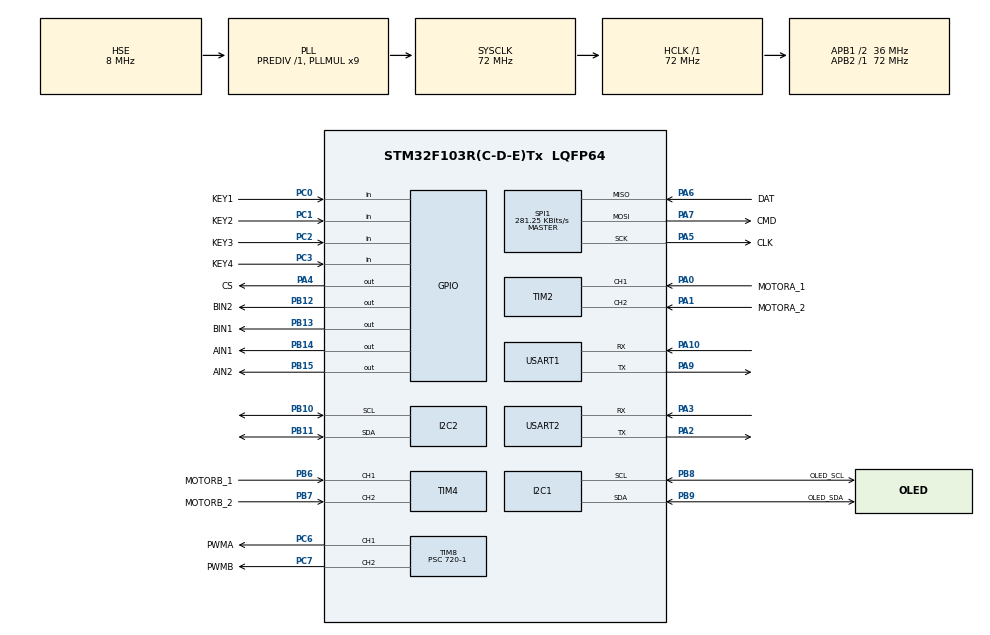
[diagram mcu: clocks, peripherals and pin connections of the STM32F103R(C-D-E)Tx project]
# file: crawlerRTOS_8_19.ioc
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FREERTOS.BinarySemaphores01=myBinarySem01,Dynamic,NULL;myBinarySem02,Dynamic,NULL
FREERTOS.Tasks01=defaultTask,0,128,StartDefaultTask,Default,NULL,Dynamic,NULL,NULL;OLED_Task,-2,128,StartOLED_Task,Default,NULL,Dynamic,NULL,NULL;KEY_Task,0,128,StartKEY_Task,Default,NULL,Dynamic,NULL,NULL;myTask_KEY,0,128,StartmyTask_KEY,Default,NULL,Dynamic,NULL,NULL;mode_Task,0,128,Startmode_Task,Default,NULL,Dynamic,NULL,NULL;U1_Task,0,128,StartU1_Task,Default,NULL,Dynamic,NULL,NULL;U2_Task,-3,128,StartU2_Task,Default,NULL,Dynamic,NULL,NULL
FREERTOS.Timers01=myTimer01,Callback01,osTimerPeriodic,Default,NULL,Dynamic,NULL;mode1Timer,mode1Callback,osTimerPeriodic,Default,NULL,Dynamic,NULL
FREERTOS.configTOTAL_HEAP_SIZE=6144
FREERTOS.configUSE_COUNTING_SEMAPHORES=1
FREERTOS.configUSE_TIMERS=1
Mcu.Family=STM32F1
Mcu.Name=STM32F103R(C-D-E)Tx
Mcu.Package=LQFP64
NVIC.PriorityGroup=NVIC_PRIORITYGROUP_4
NVIC.TIM2_IRQn=true\:5\:0\:false\:false\:true\:true\:true\:true\:true
NVIC.TIM3_IRQn=true\:5\:0\:false\:false\:true\:true\:true\:true\:true
NVIC.TIM4_IRQn=true\:5\:0\:false\:false\:true\:true\:true\:true\:true
NVIC.TIM6_IRQn=true\:5\:0\:false\:false\:true\:true\:true\:true\:true
NVIC.TIM7_IRQn=true\:15\:0\:false\:false\:true\:false\:false\:true\:true
NVIC.TIM8_TRG_COM_IRQn=true\:5\:0\:false\:false\:true\:true\:true\:true\:true
NVIC.TIM8_UP_IRQn=true\:5\:0\:false\:false\:true\:true\:true\:true\:true
NVIC.TimeBase=TIM7_IRQn
NVIC.TimeBaseIP=TIM7
NVIC.USART1_IRQn=true\:5\:0\:false\:false\:true\:true\:true\:true\:true
NVIC.USART2_IRQn=true\:5\:0\:false\:false\:true\:true\:true\:true\:true
PA0-WKUP.GPIO_Label=MOTORA_1
PA0-WKUP.GPIO_PuPd=GPIO_PULLUP
PA0-WKUP.Signal=S_TIM2_CH1_ETR
PA1.GPIO_Label=MOTORA_2
PA1.GPIO_PuPd=GPIO_PULLUP
PA1.Signal=S_TIM2_CH2
PA10.Mode=Asynchronous
PA10.Signal=USART1_RX
PA13.Mode=Serial_Wire
PA13.Signal=SYS_JTMS-SWDIO
PA14.Mode=Serial_Wire
PA14.Signal=SYS_JTCK-SWCLK
PA2.Mode=Asynchronous
PA2.Signal=USART2_TX
PA3.Mode=Asynchronous
PA3.Signal=USART2_RX
PA4.GPIO_Label=CS
PA4.Signal=GPIO_Output
PA5.GPIO_Label=CLK
PA5.Mode=Full_Duplex_Master
PA5.Signal=SPI1_SCK
PA6.GPIO_Label=DAT
PA6.Mode=Full_Duplex_Master
PA6.Signal=SPI1_MISO
PA7.GPIO_Label=CMD
PA7.Mode=Full_Duplex_Master
PA7.Signal=SPI1_MOSI
PA9.Mode=Asynchronous
PA9.Signal=USART1_TX
PB10.Mode=I2C
PB10.Signal=I2C2_SCL
PB11.Mode=I2C
PB11.Signal=I2C2_SDA
PB12.GPIO_Label=BIN2
PB12.Signal=GPIO_Output
PB13.GPIO_Label=BIN1
PB13.Signal=GPIO_Output
PB14.GPIO_Label=AIN1
PB14.Signal=GPIO_Output
PB15.GPIO_Label=AIN2
PB15.Signal=GPIO_Output
PB6.GPIO_Label=MOTORB_1
PB6.GPIO_PuPd=GPIO_PULLUP
PB6.Signal=S_TIM4_CH1
PB7.GPIO_Label=MOTORB_2
PB7.GPIO_PuPd=GPIO_PULLUP
PB7.Signal=S_TIM4_CH2
PB8.GPIO_Label=OLED_SCL
PB8.Mode=I2C
PB8.Signal=I2C1_SCL
PB9.GPIO_Label=OLED_SDA
PB9.Mode=I2C
PB9.Signal=I2C1_SDA
PC0.GPIO_Label=KEY1
PC0.GPIO_PuPd=GPIO_PULLUP
PC0.Signal=GPIO_Input
PC1.GPIO_Label=KEY2
PC1.GPIO_PuPd=GPIO_PULLUP
PC1.Signal=GPIO_Input
PC2.GPIO_Label=KEY3
PC2.GPIO_PuPd=GPIO_PULLUP
PC2.Signal=GPIO_Input
PC3.GPIO_Label=KEY4
PC3.GPIO_PuPd=GPIO_PULLUP
PC3.Signal=GPIO_Input
PC6.GPIO_Label=PWMA
PC6.Signal=S_TIM8_CH1
PC7.GPIO_Label=PWMB
PC7.Signal=S_TIM8_CH2
PD0-OSC_IN.Mode=HSE-External-Oscillator
PD0-OSC_IN.Signal=RCC_OSC_IN
PD1-OSC_OUT.Mode=HSE-External-Oscillator
PD1-OSC_OUT.Signal=RCC_OSC_OUT
ProjectManager.HeapSize=0x200
ProjectManager.StackSize=0x400
ProjectManager.TargetToolchain=MDK-ARM V5.32
RCC.AHBFreq_Value=72000000
RCC.APB1CLKDivider=RCC_HCLK_DIV2
RCC.APB1Freq_Value=36000000
RCC.APB1TimFreq_Value=72000000
RCC.APB2Freq_Value=72000000
RCC.APB2TimFreq_Value=72000000
RCC.HCLKFreq_Value=72000000
RCC.PLLMUL=RCC_PLL_MUL9
RCC.PLLSourceVirtual=RCC_PLLSOURCE_HSE
RCC.SYSCLKFreq_VALUE=72000000
RCC.SYSCLKSource=RCC_SYSCLKSOURCE_PLLCLK
RCC.USBFreq_Value=72000000
SH.S_TIM2_CH1_ETR.0=TIM2_CH1,Encoder_Interface
SH.S_TIM2_CH2.0=TIM2_CH2,Encoder_Interface
SH.S_TIM4_CH1.0=TIM4_CH1,Encoder_Interface
SH.S_TIM4_CH2.0=TIM4_CH2,Encoder_Interface
SH.S_TIM8_CH1.0=TIM8_CH1,PWM Generation1 CH1
SH.S_TIM8_CH2.0=TIM8_CH2,PWM Generation2 CH2
SPI1.BaudRatePrescaler=SPI_BAUDRATEPRESCALER_256
SPI1.CLKPolarity=SPI_POLARITY_HIGH
SPI1.CalculateBaudRate=281.25 KBits/s
SPI1.Direction=SPI_DIRECTION_2LINES
SPI1.FirstBit=SPI_FIRSTBIT_LSB
SPI1.Mode=SPI_MODE_MASTER
SPI1.VirtualType=VM_MASTER
TIM3.Period=50-1
TIM3.Prescaler=7200-1
TIM6.Period=50-1
TIM6.Prescaler=7200-1
TIM8.Channel-PWM\ Generation1\ CH1=TIM_CHANNEL_1
TIM8.Channel-PWM\ Generation2\ CH2=TIM_CHANNEL_2
TIM8.Period=1000-1
TIM8.Prescaler=720-1
USART1.VirtualMode=VM_ASYNC
USART2.VirtualMode=VM_ASYNC
VP_FREERTOS_VS_CMSIS_V1.Mode=CMSIS_V1
VP_SYS_VS_tim7.Mode=TIM7
VP_TIM3_VS_ClockSourceINT.Mode=Internal
VP_TIM6_VS_ClockSourceINT.Mode=Enable_Timer
VP_TIM8_VS_ClockSourceINT.Mode=Internal
board=custom

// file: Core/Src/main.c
/* USER CODE BEGIN Header */
/**
  ******************************************************************************
  * @file           : main.c
  * @brief          : Main program body
  ******************************************************************************
  * @attention
  *
  * Copyright (c) 2024 STMicroelectronics.
  * All rights reserved.
  *
  * This software is licensed under terms that can be found in the LICENSE file
  * in the root directory of this software component.
  * If no LICENSE file comes with this software, it is provided AS-IS.
  *
  ******************************************************************************
  */
/* USER CODE END Header */
#include "main.h"
#include "cmsis_os.h"
#include "i2c.h"
#include "spi.h"
#include "tim.h"
#include "usart.h"
#include "gpio.h"

/* USER CODE BEGIN PM */
int alg_Set[5] = {0,0,0,0,0};
int alg_Set_init[3] = {200,280,0};

int sign_Set[5] = {0,0,0,0,0};
/* USER CODE END PM */

/* USER CODE BEGIN PV */
/********************************************************************************/
uint8_t RxBuffer[MAX_REC_LENGTH] = {0};		//串口数据存储BUFF		长度2048
uint8_t RxFlag = 0;							//串口接收完成标志符
uint16_t RxCounter = 0;						//串口长度计数
uint8_t RxTemp[REC_LENGTH] = {0};			//串口数据接收暂存BUFF	长度1

uint8_t RxBuffer2[MAX_REC_LENGTH] = {0};		//串口数据存储BUFF		长度2048
uint8_t RxFlag2 = 0;							//串口接收完成标志符
uint16_t RxCounter2 = 0;						//串口长度计数
uint8_t RxTemp2[REC_LENGTH] = {0};			//串口数据接收暂存BUFF	长度1

extern osSemaphoreId myBinarySem01Handle;	//操作系统定义的互斥量
extern osSemaphoreId myBinarySem02Handle;	//操作系统定义的互斥量
/********************************************************************************/
/* USER CODE END PV */

void SystemClock_Config(void);
void MX_FREERTOS_Init(void);

int main(void)
{

  /* MCU Configuration--------------------------------------------------------*/

  /* Reset of all peripherals, Initializes the Flash interface and the Systick. */
  HAL_Init();

  /* Configure the system clock */
  SystemClock_Config();

  /* Initialize all configured peripherals */
  MX_GPIO_Init();
  MX_I2C1_Init();
  MX_SPI1_Init();
  MX_USART1_UART_Init();
  MX_I2C2_Init();
  MX_TIM8_Init();
  MX_TIM2_Init();
  MX_TIM4_Init();
  MX_TIM6_Init();
  MX_USART2_UART_Init();
  MX_TIM3_Init();
  /* USER CODE BEGIN 2 */
	HAL_TIM_Encoder_Start(&htim2, TIM_CHANNEL_ALL);
	HAL_TIM_Encoder_Start(&htim4, TIM_CHANNEL_ALL);

	OLED_Init();  //初始化OLED
	PID_Param_Init();
	PCA_MG9XX_Init(60,90);

	inverse_operation(alg_Set_init[0],alg_Set_init[1],alg_Set_init[2]);
	alg_move_run();
  /* USER CODE END 2 */

  /* Call init function for freertos objects (in freertos.c) */
  MX_FREERTOS_Init();

  /* Start scheduler */
  osKernelStart();

  /* We should never get here as control is now taken by the scheduler */
  /* Infinite loop */
  while (1)
  {

  }
}

void SystemClock_Config(void)
{
  RCC_OscInitTypeDef RCC_OscInitStruct = {0};
  RCC_ClkInitTypeDef RCC_ClkInitStruct = {0};

  /** Initializes the RCC Oscillators according to the specified parameters
  * in the RCC_OscInitTypeDef structure.
  */
  RCC_OscInitStruct.OscillatorType = RCC_OSCILLATORTYPE_HSE;
  RCC_OscInitStruct.HSEState = RCC_HSE_ON;
  RCC_OscInitStruct.HSEPredivValue = RCC_HSE_PREDIV_DIV1;
  RCC_OscInitStruct.HSIState = RCC_HSI_ON;
  RCC_OscInitStruct.PLL.PLLState = RCC_PLL_ON;
  RCC_OscInitStruct.PLL.PLLSource = RCC_PLLSOURCE_HSE;
  RCC_OscInitStruct.PLL.PLLMUL = RCC_PLL_MUL9;
  if (HAL_RCC_OscConfig(&RCC_OscInitStruct) != HAL_OK)
  {
    Error_Handler();
  }

  /** Initializes the CPU, AHB and APB buses clocks
  */
  RCC_ClkInitStruct.ClockType = RCC_CLOCKTYPE_HCLK|RCC_CLOCKTYPE_SYSCLK
                              |RCC_CLOCKTYPE_PCLK1|RCC_CLOCKTYPE_PCLK2;
  RCC_ClkInitStruct.SYSCLKSource = RCC_SYSCLKSOURCE_PLLCLK;
  RCC_ClkInitStruct.AHBCLKDivider = RCC_SYSCLK_DIV1;
  RCC_ClkInitStruct.APB1CLKDivider = RCC_HCLK_DIV2;
  RCC_ClkInitStruct.APB2CLKDivider = RCC_HCLK_DIV1;

  if (HAL_RCC_ClockConfig(&RCC_ClkInitStruct, FLASH_LATENCY_2) != HAL_OK)
  {
    Error_Handler();
  }
}

void HAL_TIM_PeriodElapsedCallback(TIM_HandleTypeDef *htim)
{
  if (htim->Instance == TIM7) {
    HAL_IncTick();
  }
  /* USER CODE BEGIN Callback 1 */
	if(htim->Instance == TIM6)
	{
		RxFlag = 1;																	//接收标志位置1
		HAL_TIM_Base_Stop_IT(&htim6);								//关闭定时器
		osSemaphoreRelease(myBinarySem01Handle);		//释放二值信号量，进入串口任务
	}
	if(htim->Instance == TIM3)
	{
		RxFlag2 = 1;																	//接收标志位置1
		HAL_TIM_Base_Stop_IT(&htim3);								//关闭定时器
		osSemaphoreRelease(myBinarySem02Handle);		//释放二值信号量，进入串口任务
	}
  /* USER CODE END Callback 1 */
}

void Error_Handler(void)
{
  __disable_irq();
  while (1)
  {
  }
}

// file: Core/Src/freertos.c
/* USER CODE BEGIN Header */
/**
  ******************************************************************************
  * File Name          : freertos.c
  * Description        : Code for freertos applications
  ******************************************************************************
  * @attention
  *
  * Copyright (c) 2024 STMicroelectronics.
  * All rights reserved.
  *
  * This software is licensed under terms that can be found in the LICENSE file
  * in the root directory of this software component.
  * If no LICENSE file comes with this software, it is provided AS-IS.
  *
  ******************************************************************************
  */
/* USER CODE END Header */

#include "FreeRTOS.h"
#include "task.h"
#include "main.h"
#include "cmsis_os.h"

/* USER CODE BEGIN PTD */
extern int alg_Set[5];
extern int sign_Set[5];
/* USER CODE END PTD */

/* USER CODE BEGIN PD */
#define KEY_1 (1<<1)
#define KEY_2 (1<<2)
#define KEY_3 (1<<3)
#define KEY_4 (1<<4)
/* USER CODE END PD */

/* USER CODE BEGIN PM */
uint8_t key1_flag = 0;
uint8_t key2_flag = 0;
uint8_t key3_flag = 0;
uint8_t key4_flag = 0;
/* USER CODE END PM */

osThreadId defaultTaskHandle;
osThreadId OLED_TaskHandle;
osThreadId KEY_TaskHandle;
osThreadId myTask_KEYHandle;
osThreadId mode_TaskHandle;
osThreadId U1_TaskHandle;
osThreadId U2_TaskHandle;
osTimerId myTimer01Handle;
osTimerId mode1TimerHandle;
osSemaphoreId myBinarySem01Handle;
osSemaphoreId myBinarySem02Handle;

/* USER CODE BEGIN FunctionPrototypes */
void mode1(void);
void mode2(void);
void mode3(void);
void RxBuffer_set(void);
void RxBuffer_set2(void);
/* USER CODE END FunctionPrototypes */

void StartDefaultTask(void const * argument);
void StartOLED_Task(void const * argument);
void StartKEY_Task(void const * argument);
void StartmyTask_KEY(void const * argument);
void Startmode_Task(void const * argument);
void StartU1_Task(void const * argument);
void StartU2_Task(void const * argument);
void Callback01(void const * argument);
void mode1Callback(void const * argument);

void MX_FREERTOS_Init(void); /* (MISRA C 2004 rule 8.1) */

/* GetIdleTaskMemory prototype (linked to static allocation support) */
void vApplicationGetIdleTaskMemory( StaticTask_t **ppxIdleTaskTCBBuffer, StackType_t **ppxIdleTaskStackBuffer, uint32_t *pulIdleTaskStackSize );

/* GetTimerTaskMemory prototype (linked to static allocation support) */
void vApplicationGetTimerTaskMemory( StaticTask_t **ppxTimerTaskTCBBuffer, StackType_t **ppxTimerTaskStackBuffer, uint32_t *pulTimerTaskStackSize );

/* USER CODE BEGIN GET_IDLE_TASK_MEMORY */
static StaticTask_t xIdleTaskTCBBuffer;
static StackType_t xIdleStack[configMINIMAL_STACK_SIZE];

void vApplicationGetIdleTaskMemory( StaticTask_t **ppxIdleTaskTCBBuffer, StackType_t **ppxIdleTaskStackBuffer, uint32_t *pulIdleTaskStackSize )
{
  *ppxIdleTaskTCBBuffer = &xIdleTaskTCBBuffer;
  *ppxIdleTaskStackBuffer = &xIdleStack[0];
  *pulIdleTaskStackSize = configMINIMAL_STACK_SIZE;
  /* place for user code */
}
/* USER CODE END GET_IDLE_TASK_MEMORY */

/* USER CODE BEGIN GET_TIMER_TASK_MEMORY */
static StaticTask_t xTimerTaskTCBBuffer;
static StackType_t xTimerStack[configTIMER_TASK_STACK_DEPTH];

void vApplicationGetTimerTaskMemory( StaticTask_t **ppxTimerTaskTCBBuffer, StackType_t **ppxTimerTaskStackBuffer, uint32_t *pulTimerTaskStackSize )
{
  *ppxTimerTaskTCBBuffer = &xTimerTaskTCBBuffer;
  *ppxTimerTaskStackBuffer = &xTimerStack[0];
  *pulTimerTaskStackSize = configTIMER_TASK_STACK_DEPTH;
  /* place for user code */
}
/* USER CODE END GET_TIMER_TASK_MEMORY */

void MX_FREERTOS_Init(void) {

  /* Create the semaphores(s) */
  /* definition and creation of myBinarySem01 */
  osSemaphoreDef(myBinarySem01);
  myBinarySem01Handle = osSemaphoreCreate(osSemaphore(myBinarySem01), 1);

  /* definition and creation of myBinarySem02 */
  osSemaphoreDef(myBinarySem02);
  myBinarySem02Handle = osSemaphoreCreate(osSemaphore(myBinarySem02), 1);

  /* Create the timer(s) */
  /* definition and creation of myTimer01 */
  osTimerDef(myTimer01, Callback01);
  myTimer01Handle = osTimerCreate(osTimer(myTimer01), osTimerPeriodic, NULL);

  /* definition and creation of mode1Timer */
  osTimerDef(mode1Timer, mode1Callback);
  mode1TimerHandle = osTimerCreate(osTimer(mode1Timer), osTimerPeriodic, NULL);

  /* USER CODE BEGIN RTOS_TIMERS */
  /* start timers, add new ones, ... */
	osTimerStart(myTimer01Handle,100);
	osTimerStart(mode1TimerHandle,50);
  /* USER CODE END RTOS_TIMERS */

  /* Create the thread(s) */
  /* definition and creation of defaultTask */
  osThreadDef(defaultTask, StartDefaultTask, osPriorityNormal, 0, 128);
  defaultTaskHandle = osThreadCreate(osThread(defaultTask), NULL);

  /* definition and creation of OLED_Task */
  osThreadDef(OLED_Task, StartOLED_Task, osPriorityLow, 0, 128);
  OLED_TaskHandle = osThreadCreate(osThread(OLED_Task), NULL);

  /* definition and creation of KEY_Task */
  osThreadDef(KEY_Task, StartKEY_Task, osPriorityNormal, 0, 128);
  KEY_TaskHandle = osThreadCreate(osThread(KEY_Task), NULL);

  /* definition and creation of myTask_KEY */
  osThreadDef(myTask_KEY, StartmyTask_KEY, osPriorityNormal, 0, 128);
  myTask_KEYHandle = osThreadCreate(osThread(myTask_KEY), NULL);

  /* definition and creation of mode_Task */
  osThreadDef(mode_Task, Startmode_Task, osPriorityNormal, 0, 128);
  mode_TaskHandle = osThreadCreate(osThread(mode_Task), NULL);

  /* definition and creation of U1_Task */
  osThreadDef(U1_Task, StartU1_Task, osPriorityNormal, 0, 128);
  U1_TaskHandle = osThreadCreate(osThread(U1_Task), NULL);

  /* definition and creation of U2_Task */
  osThreadDef(U2_Task, StartU2_Task, osPriorityNormal, 0, 128);
  U2_TaskHandle = osThreadCreate(osThread(U2_Task), NULL);

}

void StartDefaultTask(void const * argument)
{
  /* USER CODE BEGIN StartDefaultTask */
	HAL_UART_Receive_IT(&huart1,(uint8_t *)RxTemp, REC_LENGTH);
	HAL_UART_Receive_IT(&huart2,(uint8_t *)RxTemp2, REC_LENGTH);
  /* Infinite loop */
  for(;;)
  {
    osDelay(1);
  }
  /* USER CODE END StartDefaultTask */
}

void StartOLED_Task(void const * argument)
{
  /* USER CODE BEGIN StartOLED_Task */
  /* Infinite loop */
  for(;;)
  {
//		if(key1_flag)
//		{
//			OLED_ShowString(2,1,"K1");
//		}
//		else if(key2_flag)
//		{
//			OLED_ShowString(2,1,"K2");
//		}
//		else if(key3_flag)
//		{
//			OLED_ShowString(2,1,"K3");
//		}
//		else if(key4_flag)
//		{
//			OLED_ShowString(2,1,"K4");
//		}
//		else
//		{
//			OLED_ShowString(2,1,"  ");
//		}
		OLED_ShowString(1,1,"MODE:");
		OLED_ShowNum(1,6,MODE.MODEFLAT,1);
////		OLED_ShowString(2,1,"LX:     LY:");
////		OLED_ShowString(3,1,"RX:     RY:");
////		OLED_ShowSignedNum(2,4,COORD.LeftX,4);
////		OLED_ShowSignedNum(2,12,COORD.LeftY,4);
////		OLED_ShowSignedNum(3,4,COORD.RightX,4);
////		OLED_ShowSignedNum(3,12,COORD.RightY,4);

		OLED_ShowSignedNum(2,4,PID.MotorA_Velocity_Target_Val,4);
		OLED_ShowSignedNum(2,12,PID.MotorB_Velocity_Target_Val,4);
//
//		OLED_ShowNum(4,1,alg_Set[0],3);
//		OLED_ShowNum(4,5,alg_Set[1],3);
//		OLED_ShowNum(4,9,alg_Set[2],3);
//		OLED_ShowNum(4,13,alg_Set[3],3);
//		OLED_ShowNum(1,13,alg_Set[4],3);
  }
  /* USER CODE END StartOLED_Task */
}

void StartKEY_Task(void const * argument)
{
  /* USER CODE BEGIN StartKEY_Task */
  /* Infinite loop */
  for(;;)
  {
    if(HAL_GPIO_ReadPin(KEY1_GPIO_Port,KEY1_Pin)==0)
    {
        osDelay(10);
        if(HAL_GPIO_ReadPin(KEY1_GPIO_Port,KEY1_Pin)==0)
        {
            osThreadSuspendAll();
            printf("KEY1按下 \n");
            osThreadResumeAll();
            osSignalSet(myTask_KEYHandle,KEY_1);
            //xTaskNotifyGive(myTask01Handle);  //FreeRtos源码函数
            while(HAL_GPIO_ReadPin(KEY1_GPIO_Port,KEY1_Pin)==0)
            {
                osDelay(10);
            }
        }
    }

		if(HAL_GPIO_ReadPin(KEY2_GPIO_Port,KEY2_Pin)==0)
    {
        osDelay(10);
        if(HAL_GPIO_ReadPin(KEY2_GPIO_Port,KEY2_Pin)==0)
        {
            osThreadSuspendAll();
            printf("KEY2按下 \n");
            osThreadResumeAll();
            osSignalSet(myTask_KEYHandle,KEY_2);
            //xTaskNotifyGive(myTask01Handle);  //FreeRtos源码函数
            while(HAL_GPIO_ReadPin(KEY2_GPIO_Port,KEY2_Pin)==0)
            {
                osDelay(10);
            }
        }
    }

		if(HAL_GPIO_ReadPin(KEY3_GPIO_Port,KEY3_Pin)==0)
    {
        osDelay(10);
        if(HAL_GPIO_ReadPin(KEY3_GPIO_Port,KEY3_Pin)==0)
        {
            osThreadSuspendAll();
            printf("KEY3按下 \n");
            osThreadResumeAll();
            osSignalSet(myTask_KEYHandle,KEY_3);
            //xTaskNotifyGive(myTask01Handle);  //FreeRtos源码函数
            while(HAL_GPIO_ReadPin(KEY3_GPIO_Port,KEY3_Pin)==0)
            {
                osDelay(10);
            }
        }
    }

		if(HAL_GPIO_ReadPin(KEY4_GPIO_Port,KEY4_Pin)==0)
    {
        osDelay(10);
        if(HAL_GPIO_ReadPin(KEY4_GPIO_Port,KEY4_Pin)==0)
        {
            osThreadSuspendAll();
            printf("KEY4按下 \n");
            osThreadResumeAll();
            osSignalSet(myTask_KEYHandle,KEY_4);
            //xTaskNotifyGive(myTask01Handle);  //FreeRtos源码函数
            while(HAL_GPIO_ReadPin(KEY4_GPIO_Port,KEY4_Pin)==0)
            {
                osDelay(10);
            }
        }
    }
      osDelay(1);
  }
  /* USER CODE END StartKEY_Task */
}

void StartmyTask_KEY(void const * argument)
{
  /* USER CODE BEGIN StartmyTask_KEY */
	osEvent event;
  /* Infinite loop */
  for(;;)
  {
		event=osSignalWait(KEY_1|KEY_2|KEY_3|KEY_4,osWaitForever);
		key1_flag = 0;
		key2_flag = 0;
		key3_flag = 0;
		key4_flag = 0;
		if(event.value.signals&KEY_1)
		{
				key1_flag = 1;
		}
		else if(event.value.signals&KEY_2)
		{
				key2_flag = 1;
		}
		else if(event.value.signals&KEY_3)
		{
				key3_flag = 1;
		}
		else if(event.value.signals&KEY_4)
		{
				key4_flag = 1;
		}

    osDelay(1);
  }
  /* USER CODE END StartmyTask_KEY */
}

void Startmode_Task(void const * argument)
{
  /* USER CODE BEGIN Startmode_Task */
  /* Infinite loop */
  for(;;)
  {
//		osTimerStop(mode1TimerHandle);

    osDelay(1);
  }
  /* USER CODE END Startmode_Task */
}

void StartU1_Task(void const * argument)
{
  /* USER CODE BEGIN StartU1_Task */
  /* Infinite loop */
  for(;;)
  {
		/********************************************************************************/
		osSemaphoreWait(myBinarySem01Handle,100);						//等待二值信号量
		if(RxFlag == 1)													//数据接收完成
		{
			RxBuffer_set();
			for(int i = 0; i<RxCounter; i++)							//打印接收数组存储的内容
				printf("%c",RxBuffer[i]);
					 printf("\r\n");											//打印完成换行
			RxFlag = 0;													//接收标志清零
			RxCounter = 0;												//接收计数清零
			memset(RxBuffer ,0, MAX_REC_LENGTH);						//清空接收数组
		}
		/********************************************************************************/
    osDelay(1);
  }
  /* USER CODE END StartU1_Task */
}

void StartU2_Task(void const * argument)
{
  /* USER CODE BEGIN StartU2_Task */
  /* Infinite loop */
  for(;;)
  {
		/********************************************************************************/
		osSemaphoreWait(myBinarySem02Handle,100);						//等待二值信号量
		if(RxFlag2 == 1)													//数据接收完成
		{
			RxBuffer_set2();
			for(int i = 0; i<RxCounter2; i++)							//打印接收数组存储的内容
				printf("%c",RxBuffer2[i]);
					 printf("\r\n");											//打印完成换行
			RxFlag2 = 0;													//接收标志清零
			RxCounter2 = 0;												//接收计数清零
			memset(RxBuffer2 ,0, MAX_REC_LENGTH);						//清空接收数组
		}
		/********************************************************************************/
    osDelay(1);
  }
  /* USER CODE END StartU2_Task */
}

/* Callback01 function */
void Callback01(void const * argument)
{
  /* USER CODE BEGIN Callback01 */
	PS2Data();
//  printf("\n定时器%d\n",osKernelSysTick());
  /* USER CODE END Callback01 */
}

/* mode1Callback function */
void mode1Callback(void const * argument)
{
  /* USER CODE BEGIN mode1Callback */
	switch(MODE.MODEFLAT)
		{
			case(0):
							break;
			case(1):mode1();
							break;
			case(2):mode2();
							break;
			case(3):mode3();
							break;
			case(4):
							break;
			case(5):
							break;
			case(6):
							break;
		}
  /* USER CODE END mode1Callback */
}

/* USER CODE BEGIN Application */

int32_t encoderA = 0,encoderB = 0;
uint8_t i2=0,a=0;
encoder_InitTypedef speed;
void mode1(void)
{
	int accel,direc;

	speed.encoderA = Read_SPEEDA();
	__HAL_TIM_SetCounter(&htim2, 0);														//清空计数值

	speed.encoderB = Read_SPEEDB();
	__HAL_TIM_SetCounter(&htim4, 0);														//清空计数值

	printf("%d,%d\r\n" , speed.encoderA , speed.encoderB );//输出转速

	accel = COORD.RightY;
	direc = COORD.RightX;
	PID.MotorA_Velocity_Target_Val=-accel-direc;
	PID.MotorB_Velocity_Target_Val=-accel+direc;

//	step_run();

	motor_speed(VelocityRing_MOTORA_Control(),VelocityRing_MOTORB_Control());								//PID
}

extern int alg_flag=1,slow_flag = 0;
extern int alg[3] = {200,280,0};

void mode2(void)
{
//	inverse_operation(alg_Set[0],alg_Set[1],alg_Set[2]);
	int X,Y,pre,d,g;
	X = alg_Set[0];
	Y = alg_Set[1];
	pre = alg_Set[2];
	d = alg_Set[3];
	g = alg_Set[4];

	int free = 10;

	if(alg_flag==1)
	{
		alg[0] = alg[0]+320*(1-pre/100)/16/free;
		alg[1] = alg[1]-(Y-240)/g*25/free;
		alg[2] = alg[2]-(X-320)/d*75/free;

		inverse_operation(alg[0],alg[1],alg[2]);
		alg_move_run();

		if(pre>10)
		{
			slow_flag = 1;

		}
		alg_flag = 0;
	}
	if (slow_flag == 1){
		int Xpre,Ypre;
		Xpre = X/640*100;
		Ypre = Y/480*100;
		if(Xpre<45)
		{
			alg[2] = alg[2] - 1;
		}
		if(Xpre>55){
			alg[2] = alg[2] + 1;
		}
//		if(Ypre<45)
//		{
//			alg[1] = alg[1] + 2;
//		}
//		if(Ypre>55){
//			alg[1] = alg[1] - 2;
//		}
		inverse_operation(alg[0],alg[1],alg[2]);
		alg_move_run();

		slow_flag = 0;
}

	for(int m = 0; m<5; m++)							//打印接收数组存储的内容
		printf("%d",alg_Set[m]);

}

int Angle_A=90,Angle_B=90,Angle_C=90;

void mode3(void)
{
	alg[0] = 200;
	alg[1] = 280;
	alg[2] = 0;

	Angle_A=Angle_A+COORD.RightX*0.01;
	if(Angle_A>=180)Angle_A=180;
	if(Angle_A<=0)Angle_A=0;
	PCA_MG9XX(0,Angle_A);

	Angle_B=COORD.RightY*0.01+Angle_B;
	if(Angle_B>=120)Angle_B=120;
	if(Angle_B<=90)Angle_B=90;
	PCA_MG9XX(1,Angle_B);

	Angle_C=COORD.LeftY*0.01+Angle_C;
	if(Angle_C>=100)Angle_C=100;
	if(Angle_C<=60)Angle_C=60;
	PCA_MG9XX(2,Angle_C);

}

void RxBuffer_set(void)
{
  static uint8_t Rxnum = 5;     // 位数

	// 去掉开头的 '@' 字符
    char *data = RxBuffer + 1;

    // 检查数据长度是否符合预期
    if (strlen(data) < 15) {
        printf("数据长度不足。\n");
    }

    // 解析数据
    int values[5];
    sscanf(data, "%3d%3d%3d%3d%3d", &values[0], &values[1], &values[2],&values[3], &values[4]);

    // 保存到 alg_Set[3]
    alg_Set[0] = values[0];
    alg_Set[1] = values[1];
    alg_Set[2] = values[2];
		alg_Set[3] = values[3];
		alg_Set[4] = values[4];
		alg_flag = 1;

	for(int m = 0; m<Rxnum; m++)							//打印接收数组存储的内容
				printf("%d",alg_Set[m]);
}

#define MAX_VALUES 7  // 假设最多有10个值

void RxBuffer_set2(void)
{

    int count = 0;  // Counter for the number of values processed

    // Tokenize the input string using ':' as the delimiter
    char *token = strtok(RxBuffer2, ":");
    while (token != NULL && count < MAX_VALUES) {
        // Remove any trailing newline character
        char *newline = strchr(token, '\n');
        if (newline != NULL) {
            *newline = '\0';
        }

        // Convert the token to an integer and store it in the sign_Set array
        sign_Set[count] = atoi(token);

        // Display the number on the OLED screen

        // Move to the next token
        token = strtok(NULL, ":");
        count++;
    }

    // If the maximum number of values is reached, display a message
    if (count >= MAX_VALUES) {
        OLED_ShowNum(4, 14, 0, 1);
			count = 0;
    }

		OLED_ShowNum(3, 1,sign_Set[4], 2);
		OLED_ShowNum(3, 4,sign_Set[5], 2);
		OLED_ShowNum(3, 8,sign_Set[6], 2);

		if(sign_Set[6] == 5)
		{
			    PID.MotorA_Velocity_Target_Val = 0;
					PID.MotorB_Velocity_Target_Val = 0;
		}

}
/* USER CODE END Application */
